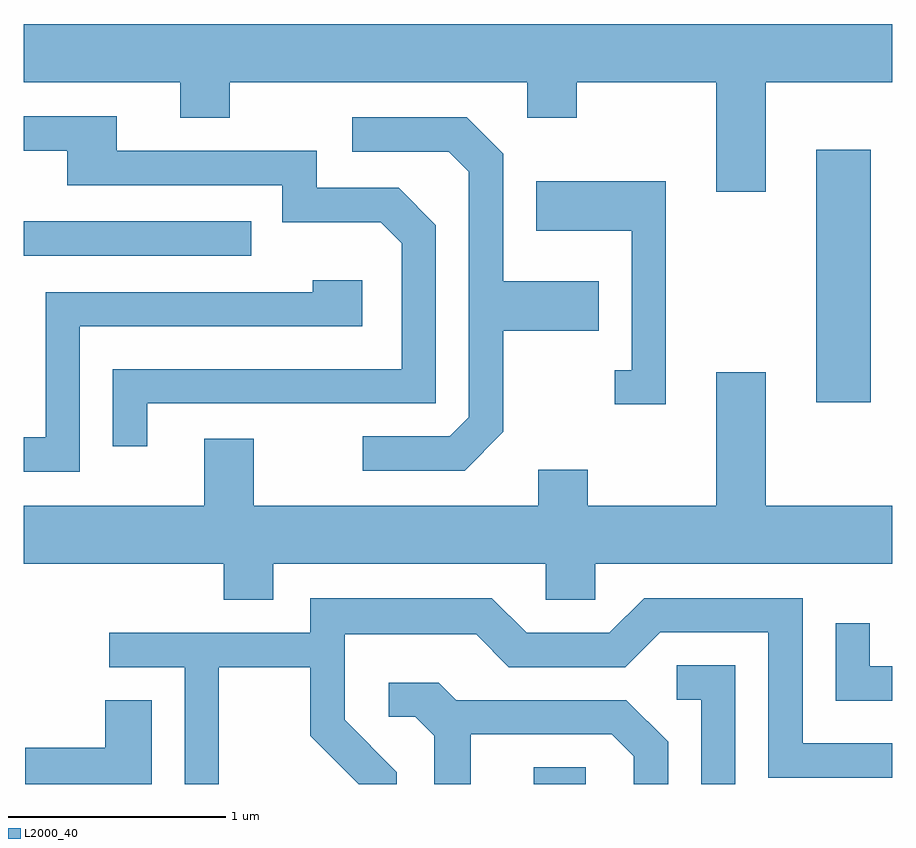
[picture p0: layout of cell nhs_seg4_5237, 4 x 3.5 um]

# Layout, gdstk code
import gdstk
lib = gdstk.Library(unit=1e-6, precision=1e-09)
def R(c, l, rs):  # rectangles x0, y0, x1, y1
    for r in rs: c.add(gdstk.rectangle(r[:2], r[2:], *l))
def P(c, l, *ps):  # polygons
    for p in ps: c.add(gdstk.Polygon(p, *l))
L2000_40 = (2000, 40)

nhs_seg4_5237 = lib.new_cell('nhs_seg4_5237')
R(nhs_seg4_5237, L2000_40, [(341.961,1255.982,342.199,1256.059), (343.261,1257.741,343.514,1258.904), (339.611,1258.416,340.658,1258.574)])
P(nhs_seg4_5237, L2000_40, [(343.029,1259.216),(343.611,1259.216),(343.611,1259.484),(339.611,1259.484),(339.611,1259.216),(340.331,1259.216),(340.331,1259.051),(340.559,1259.051),(340.559,1259.216),(341.931,1259.216),(341.931,1259.051),(342.159,1259.051),(342.159,1259.216),(342.801,1259.216),(342.801,1258.711),(343.029,1258.711)],
  [(340.179,1257.736),(341.509,1257.736),(341.509,1258.557),(341.337,1258.729),(340.959,1258.729),(340.959,1258.899),(340.039,1258.899),(340.039,1259.059),(339.611,1259.059),(339.611,1258.901),(339.811,1258.901),(339.811,1258.741),(340.801,1258.741),(340.801,1258.571),(341.254,1258.571),(341.351,1258.474),(341.351,1257.894),(340.021,1257.894),(340.021,1257.538),(340.179,1257.538)],
  [(341.819,1257.604),(341.819,1258.071),(342.259,1258.071),(342.259,1258.299),(341.819,1258.299),(341.819,1258.887),(341.652,1259.054),(341.123,1259.054),(341.123,1258.896),(341.569,1258.896),(341.661,1258.804),(341.661,1257.672),(341.574,1257.584),(341.173,1257.584),(341.173,1257.426),(341.642,1257.426)],
  [(342.569,1258.759),(341.971,1258.759),(341.971,1258.531),(342.411,1258.531),(342.411,1257.889),(342.333,1257.889),(342.333,1257.731),(342.569,1257.731)],
  [(339.869,1258.091),(341.169,1258.091),(341.169,1258.304),(340.941,1258.304),(340.941,1258.249),(339.711,1258.249),(339.711,1257.579),(339.611,1257.579),(339.611,1257.421),(339.869,1257.421)],
  [(340.759,1256.996),(342.016,1256.996),(342.016,1256.831),(342.244,1256.831),(342.244,1256.996),(343.611,1256.996),(343.611,1257.264),(343.029,1257.264),(343.029,1257.879),(342.801,1257.879),(342.801,1257.264),(342.209,1257.264),(342.209,1257.429),(341.981,1257.429),(341.981,1257.264),(340.669,1257.264),(340.669,1257.574),(340.441,1257.574),(340.441,1257.264),(339.611,1257.264),(339.611,1256.996),(340.531,1256.996),(340.531,1256.831),(340.759,1256.831)],
  [(340.509,1256.521),(340.931,1256.521),(340.931,1256.204),(341.153,1255.982),(341.329,1255.982),(341.329,1256.037),(341.089,1256.277),(341.089,1256.671),(341.694,1256.671),(341.844,1256.521),(342.382,1256.521),(342.542,1256.681),(343.041,1256.681),(343.041,1256.011),(343.611,1256.011),(343.611,1256.169),(343.199,1256.169),(343.199,1256.839),(342.469,1256.839),(342.309,1256.679),(341.927,1256.679),(341.767,1256.839),(340.931,1256.839),(340.931,1256.679),(340.003,1256.679),(340.003,1256.521),(340.351,1256.521),(340.351,1255.982),(340.509,1255.982)],
  [(343.611,1256.524),(343.509,1256.524),(343.509,1256.723),(343.351,1256.723),(343.351,1256.366),(343.611,1256.366)],
  [(342.889,1256.529),(342.618,1256.529),(342.618,1256.371),(342.731,1256.371),(342.731,1255.982),(342.889,1255.982)],
  [(341.669,1256.211),(342.319,1256.211),(342.421,1256.109),(342.421,1255.982),(342.579,1255.982),(342.579,1256.177),(342.387,1256.369),(341.602,1256.369),(341.522,1256.449),(341.293,1256.449),(341.293,1256.291),(341.414,1256.291),(341.501,1256.204),(341.501,1255.982),(341.669,1255.982)],
  [(340.199,1256.369),(339.986,1256.369),(339.986,1256.149),(339.616,1256.149),(339.616,1255.982),(340.199,1255.982)])

lib.write_gds('nhs_seg4_5237.gds')
